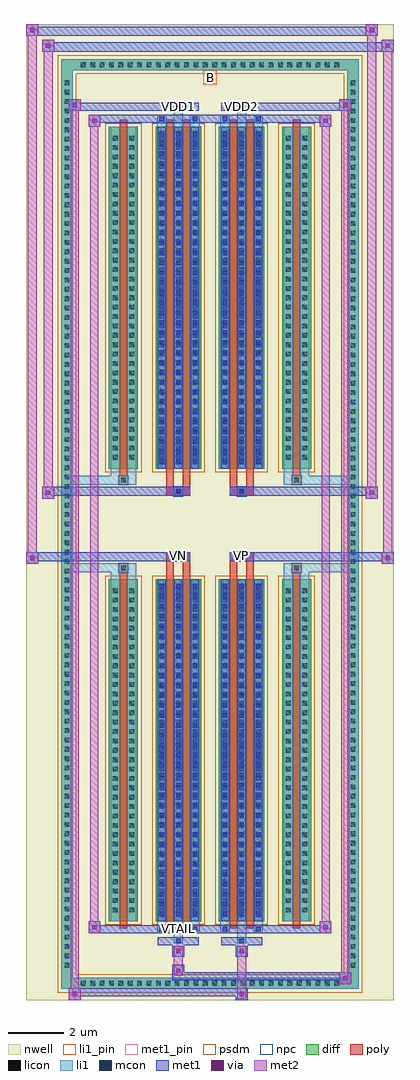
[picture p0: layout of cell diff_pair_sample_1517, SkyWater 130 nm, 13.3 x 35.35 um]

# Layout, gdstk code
import gdstk
lib = gdstk.Library(unit=1e-6, precision=5e-09)
def R(c, l, rs):  # rectangles x0, y0, x1, y1
    for r in rs: c.add(gdstk.rectangle(r[:2], r[2:], *l))
def A(c, l, x, y, w, h, nx, ny, dx, dy):  # array of equal rectangles
    R(c, l, [(x+i*dx, y+j*dy, x+i*dx+w, y+j*dy+h) for i in range(nx) for j in range(ny)])
def P(c, l, *ps):  # polygons
    for p in ps: c.add(gdstk.Polygon(p, *l))
nwell = (64, 20)
diff = (65, 20)
poly = (66, 20)
licon = (66, 44)
li1_pin = (67, 16)
li1 = (67, 20)
mcon = (67, 44)
met1_pin = (68, 16)
met1 = (68, 20)
via = (68, 44)
met2 = (69, 20)
psdm = (94, 20)
npc = (95, 20)

diff_pair_sample_1517 = lib.new_cell('diff_pair_sample_1517')
R(diff_pair_sample_1517, nwell, [(-6.65,-17.24,6.65,18.11), (-3.97,-15.43,-0.01,-0.815), (0.01,-15.43,3.97,-0.815), (-3.97,0.815,-0.01,15.43), (0.01,0.815,3.97,15.43)])
A(diff_pair_sample_1517, diff, -4.795, -16.84, 0.41, 0.41, 28, 2, 0.34, 33.27)
A(diff_pair_sample_1517, diff, -5.38, -16.185, 0.41, 0.41, 1, 95, 0, 0.34)
A(diff_pair_sample_1517, diff, 4.97, -16.185, 0.41, 0.41, 1, 95, 0, 0.34)
R(diff_pair_sample_1517, diff, [(-4.795,-16.84,4.795,-16.43), (-5.38,-16.185,-4.97,16.185), (4.97,-16.185,5.38,16.185), (-3.66,-14.385,-2.61,-2.005), (-1.97,-14.385,-0.32,-2.005), (0.32,-14.385,1.97,-2.005), (2.61,-14.385,3.66,-2.005), (-3.66,2.005,-2.61,14.385), (-1.97,2.005,-0.32,14.385), (0.32,2.005,1.97,14.385), (2.61,2.005,3.66,14.385), (-4.795,16.43,4.795,16.84)])
P(diff_pair_sample_1517, diff, [(5.38,16.84),(-5.38,16.84),(-5.38,-16.43),(-4.97,-16.43),(-4.97,16.43),(4.97,16.43),(4.97,-16.43),(-4.97,-16.43),(-5.38,-16.43),(-5.38,-16.84),(5.38,-16.84)])
R(diff_pair_sample_1517, poly, [(-3.27,-14.635,-3,-1.755), (-1.58,-14.635,-1.31,-1.755), (-0.98,-14.635,-0.71,-1.755), (0.71,-14.635,0.98,-1.755), (1.31,-14.635,1.58,-1.755), (3,-14.635,3.27,-1.755), (-3.3,-1.755,-2.97,-1.425), (-3.3,-1.755,-2.97,-1.425), (-1.58,-1.755,-1.31,-1.345), (-0.98,-1.755,-0.71,-1.345), (0.71,-1.755,0.98,-1.345), (1.31,-1.755,1.58,-1.345), (2.97,-1.755,3.3,-1.425), (2.97,-1.755,3.3,-1.425), (-1.58,-1.345,-0.71,-1.015), (-1.31,-1.345,-0.98,-1.015), (0.71,-1.345,1.58,-1.015), (0.98,-1.345,1.31,-1.015), (-1.58,1.015,-0.71,1.345), (-1.31,1.015,-0.98,1.345), (0.71,1.015,1.58,1.345), (0.98,1.015,1.31,1.345), (-1.58,1.345,-1.31,1.755), (-0.98,1.345,-0.71,1.755), (0.71,1.345,0.98,1.755), (1.31,1.345,1.58,1.755), (-3.3,1.425,-2.97,1.755), (-3.3,1.425,-2.97,1.755), (2.97,1.425,3.3,1.755), (2.97,1.425,3.3,1.755), (-3.27,1.755,-3,14.635), (-1.58,1.755,-1.31,14.635), (-0.98,1.755,-0.71,14.635), (0.71,1.755,0.98,14.635), (1.31,1.755,1.58,14.635), (3,1.755,3.27,14.635)])
A(diff_pair_sample_1517, licon, -4.675, -16.72, 0.17, 0.17, 28, 2, 0.34, 33.27)
A(diff_pair_sample_1517, licon, -5.26, -16.065, 0.17, 0.17, 1, 95, 0, 0.34)
A(diff_pair_sample_1517, licon, 5.09, -16.065, 0.17, 0.17, 1, 95, 0, 0.34)
A(diff_pair_sample_1517, licon, -3.52, -14.06, 0.17, 0.17, 1, 35, 0, 0.34)
A(diff_pair_sample_1517, licon, -2.92, -14.06, 0.17, 0.17, 1, 35, 0, 0.34)
A(diff_pair_sample_1517, licon, -1.83, -14.06, 0.17, 0.17, 3, 35, 0.6, 0.34)
A(diff_pair_sample_1517, licon, 0.46, -14.06, 0.17, 0.17, 3, 35, 0.6, 0.34)
A(diff_pair_sample_1517, licon, 2.75, -14.06, 0.17, 0.17, 1, 35, 0, 0.34)
A(diff_pair_sample_1517, licon, 3.35, -14.06, 0.17, 0.17, 1, 35, 0, 0.34)
A(diff_pair_sample_1517, licon, -3.52, 2.33, 0.17, 0.17, 1, 35, 0, 0.34)
A(diff_pair_sample_1517, licon, -2.92, 2.33, 0.17, 0.17, 1, 35, 0, 0.34)
A(diff_pair_sample_1517, licon, -1.83, 2.33, 0.17, 0.17, 3, 35, 0.6, 0.34)
A(diff_pair_sample_1517, licon, 0.46, 2.33, 0.17, 0.17, 3, 35, 0.6, 0.34)
A(diff_pair_sample_1517, licon, 2.75, 2.33, 0.17, 0.17, 1, 35, 0, 0.34)
A(diff_pair_sample_1517, licon, 3.35, 2.33, 0.17, 0.17, 1, 35, 0, 0.34)
R(diff_pair_sample_1517, licon, [(-3.22,-1.675,-3.05,-1.505), (3.05,-1.675,3.22,-1.505), (-1.23,-1.265,-1.06,-1.095), (1.06,-1.265,1.23,-1.095), (-1.23,1.095,-1.06,1.265), (1.06,1.095,1.23,1.265), (-3.22,1.505,-3.05,1.675), (3.05,1.505,3.22,1.675)])
R(diff_pair_sample_1517, li1_pin, [(-0.25,15.93,0.25,16.43)])
A(diff_pair_sample_1517, li1, -4.755, -16.8, 0.33, 0.33, 28, 2, 0.34, 33.27)
A(diff_pair_sample_1517, li1, -5.34, -16.145, 0.33, 0.33, 1, 95, 0, 0.34)
A(diff_pair_sample_1517, li1, 5.01, -16.145, 0.33, 0.33, 1, 95, 0, 0.34)
A(diff_pair_sample_1517, li1, -1.91, -14.385, 0.33, 12.38, 3, 2, 0.6, 16.39)
A(diff_pair_sample_1517, li1, 0.38, -14.385, 0.33, 12.38, 3, 2, 0.6, 16.39)
A(diff_pair_sample_1517, li1, -1.83, -14.22, 0.17, 0.17, 3, 34, 0.6, 0.36)
A(diff_pair_sample_1517, li1, -1.83, -14.22, 0.17, 12.05, 3, 2, 0.6, 16.39)
A(diff_pair_sample_1517, li1, 0.46, -14.22, 0.17, 0.17, 3, 34, 0.6, 0.36)
A(diff_pair_sample_1517, li1, 0.46, -14.22, 0.17, 12.05, 3, 2, 0.6, 16.39)
A(diff_pair_sample_1517, li1, -3.6, -14.14, 0.33, 0.33, 1, 35, 0, 0.34)
A(diff_pair_sample_1517, li1, -3, -14.14, 0.33, 0.33, 1, 35, 0, 0.34)
A(diff_pair_sample_1517, li1, -1.91, -14.14, 0.33, 0.33, 3, 35, 0.6, 0.34)
A(diff_pair_sample_1517, li1, 0.38, -14.14, 0.33, 0.33, 3, 35, 0.6, 0.34)
A(diff_pair_sample_1517, li1, 2.67, -14.14, 0.33, 0.33, 1, 35, 0, 0.34)
A(diff_pair_sample_1517, li1, 3.27, -14.14, 0.33, 0.33, 1, 35, 0, 0.34)
A(diff_pair_sample_1517, li1, -1.83, 2.17, 0.17, 0.17, 3, 34, 0.6, 0.36)
A(diff_pair_sample_1517, li1, 0.46, 2.17, 0.17, 0.17, 3, 34, 0.6, 0.36)
A(diff_pair_sample_1517, li1, -3.6, 2.25, 0.33, 0.33, 1, 35, 0, 0.34)
A(diff_pair_sample_1517, li1, -3, 2.25, 0.33, 0.33, 1, 35, 0, 0.34)
A(diff_pair_sample_1517, li1, -1.91, 2.25, 0.33, 0.33, 3, 35, 0.6, 0.34)
A(diff_pair_sample_1517, li1, 0.38, 2.25, 0.33, 0.33, 3, 35, 0.6, 0.34)
A(diff_pair_sample_1517, li1, 2.67, 2.25, 0.33, 0.33, 1, 35, 0, 0.34)
A(diff_pair_sample_1517, li1, 3.27, 2.25, 0.33, 0.33, 1, 35, 0, 0.34)
R(diff_pair_sample_1517, li1, [(-5.38,-16.84,-4.97,-16.43), (-5.38,-16.84,-4.97,-16.43), (-4.97,-16.84,4.97,-16.43), (4.97,-16.84,5.38,-16.43), (4.97,-16.84,5.38,-16.43), (-5.38,-16.43,-4.97,16.43), (4.97,-16.43,5.38,16.43), (-1.31,-15.19,-0.98,-14.385), (-1.23,-15.19,-1.06,-15.02), (0.98,-15.19,1.31,-14.385), (1.06,-15.19,1.23,-15.02), (-1.91,-14.76,-1.58,-14.385), (-1.83,-14.76,-1.66,-14.59), (-0.71,-14.76,-0.38,-14.385), (-0.63,-14.76,-0.46,-14.59), (0.38,-14.76,0.71,-14.385), (0.46,-14.76,0.63,-14.59), (1.58,-14.76,1.91,-14.385), (1.66,-14.76,1.83,-14.59), (-3.6,-14.385,-3.27,-2.005), (-3,-14.385,-2.67,-2.005), (2.67,-14.385,3,-2.005), (3.27,-14.385,3.6,-2.005), (-3.6,-2.005,-3.27,-1.425), (-3,-2.005,-2.67,-1.425), (2.67,-2.005,3,-1.425), (3.27,-2.005,3.6,-1.425), (-5.38,-1.755,-3.3,-1.425), (-3.6,-1.755,-3.3,-1.425), (-3.3,-1.755,-2.97,-1.425), (-2.97,-1.755,-2.67,-1.425), (2.67,-1.755,2.97,-1.425), (2.97,-1.755,3.3,-1.425), (2.97,-1.755,5.38,-1.425), (3.3,-1.755,3.6,-1.425), (-1.31,-1.345,-0.98,-1.015), (0.98,-1.345,1.31,-1.015), (-1.31,1.015,-0.98,1.345), (0.98,1.015,1.31,1.345), (-5.38,1.425,-3.3,1.755), (-3.6,1.425,-3.3,1.755), (-3.6,1.425,-3.27,2.005), (-3.3,1.425,-2.97,1.755), (-3,1.425,-2.67,2.005), (-2.97,1.425,-2.67,1.755), (2.67,1.425,2.97,1.755), (2.67,1.425,3,2.005), (2.97,1.425,3.3,1.755), (2.97,1.425,5.38,1.755), (3.27,1.425,3.6,2.005), (3.3,1.425,3.6,1.755), (-3.6,2.005,-3.27,14.385), (-3,2.005,-2.67,14.385), (2.67,2.005,3,14.385), (3.27,2.005,3.6,14.385), (-1.91,14.385,-1.58,14.76), (-1.31,14.385,-0.98,15.19), (-0.71,14.385,-0.38,14.76), (0.38,14.385,0.71,14.76), (0.98,14.385,1.31,15.19), (1.58,14.385,1.91,14.76), (-1.83,14.59,-1.66,14.76), (-0.63,14.59,-0.46,14.76), (0.46,14.59,0.63,14.76), (1.66,14.59,1.83,14.76), (-1.23,15.02,-1.06,15.19), (1.06,15.02,1.23,15.19), (-5.38,16.43,-4.97,16.84), (-5.38,16.43,-4.97,16.84), (-4.97,16.43,4.97,16.84), (4.97,16.43,5.38,16.84), (4.97,16.43,5.38,16.84)])
A(diff_pair_sample_1517, mcon, -1.83, -14.22, 0.17, 0.17, 3, 34, 0.6, 0.36)
A(diff_pair_sample_1517, mcon, 0.46, -14.22, 0.17, 0.17, 3, 34, 0.6, 0.36)
A(diff_pair_sample_1517, mcon, -1.83, 2.17, 0.17, 0.17, 3, 34, 0.6, 0.36)
A(diff_pair_sample_1517, mcon, 0.46, 2.17, 0.17, 0.17, 3, 34, 0.6, 0.36)
R(diff_pair_sample_1517, mcon, [(-1.23,-15.19,-1.06,-15.02), (1.06,-15.19,1.23,-15.02), (-1.83,-14.76,-1.66,-14.59), (-0.63,-14.76,-0.46,-14.59), (0.46,-14.76,0.63,-14.59), (1.66,-14.76,1.83,-14.59), (-1.23,-1.265,-1.06,-1.095), (1.06,-1.265,1.23,-1.095), (-1.23,1.095,-1.06,1.265), (1.06,1.095,1.23,1.265), (-1.83,14.59,-1.66,14.76), (-0.63,14.59,-0.46,14.76), (0.46,14.59,0.63,14.76), (1.66,14.59,1.83,14.76), (-1.23,15.02,-1.06,15.19), (1.06,15.02,1.23,15.19)])
R(diff_pair_sample_1517, met1_pin, [(-1.28,-14.8,-1.01,-14.53), (-1.28,-1.285,-1.01,-1.015), (1.01,-1.285,1.28,-1.015), (-1.28,14.98,-1.01,15.25), (1.01,14.98,1.28,15.25)])
A(diff_pair_sample_1517, met1, -1.89, -14.385, 0.29, 12.38, 3, 2, 0.6, 16.39)
A(diff_pair_sample_1517, met1, 0.4, -14.385, 0.29, 12.38, 3, 2, 0.6, 16.39)
A(diff_pair_sample_1517, met1, -1.89, -14.28, 0.29, 0.29, 3, 34, 0.6, 0.36)
A(diff_pair_sample_1517, met1, 0.4, -14.28, 0.29, 0.29, 3, 34, 0.6, 0.36)
A(diff_pair_sample_1517, met1, -1.89, 2.11, 0.29, 0.29, 3, 34, 0.6, 0.36)
A(diff_pair_sample_1517, met1, 0.4, 2.11, 0.29, 0.29, 3, 34, 0.6, 0.36)
R(diff_pair_sample_1517, met1, [(-5.11,-17.24,-4.68,-16.81), (0.93,-17.24,1.36,-16.81), (-5.11,-17.1,1.36,-16.81), (4.68,-16.67,5.11,-16.24), (-1.36,-16.53,5.11,-16.24), (-1.36,-16.39,-0.93,-15.96), (-1.36,-15.68,-0.93,-15.25), (0.93,-15.68,1.36,-15.25), (-1.89,-15.25,-0.4,-14.96), (-1.29,-15.25,-1,-14.96), (0.4,-15.25,1.89,-14.96), (1,-15.25,1.29,-14.96), (-4.4,-14.82,-3.97,-14.39), (-4.4,-14.82,-1.89,-14.53), (-1.89,-14.82,-1.6,-14.53), (-1.89,-14.82,-0.4,-14.53), (-0.69,-14.82,-0.4,-14.53), (-0.4,-14.82,0.4,-14.53), (0.4,-14.82,0.69,-14.53), (0.4,-14.82,1.89,-14.53), (1.6,-14.82,1.89,-14.53), (1.89,-14.82,4.4,-14.53), (3.97,-14.82,4.4,-14.39), (-6.65,-1.445,-6.22,-1.015), (6.22,-1.445,6.65,-1.015), (-6.65,-1.345,-0.71,-1.015), (-1.58,-1.345,-0.71,-1.015), (0.71,-1.345,1.58,-1.015), (0.71,-1.345,6.65,-1.015), (-1.29,-1.325,-1,-1.035), (1,-1.325,1.29,-1.035), (-6.08,0.915,-5.65,1.345), (5.65,0.915,6.08,1.345), (-6.08,1.015,-1.58,1.345), (-1.58,1.015,-0.71,1.345), (0.71,1.015,1.58,1.345), (1.58,1.015,6.08,1.345), (-1.29,1.035,-1,1.325), (1,1.035,1.29,1.325), (-4.4,14.39,-3.97,14.82), (3.97,14.39,4.4,14.82), (-4.4,14.53,-1.89,14.82), (-1.89,14.53,-1.6,14.82), (-1.89,14.53,-0.4,14.82), (-0.69,14.53,-0.4,14.82), (-0.4,14.53,0.4,14.82), (0.4,14.53,0.69,14.82), (0.4,14.53,1.89,14.82), (1.6,14.53,1.89,14.82), (1.89,14.53,4.4,14.82), (-5.11,14.96,-4.68,15.39), (-5.11,14.96,-1.89,15.25), (-1.89,14.96,-0.4,15.25), (-1.29,14.96,-1,15.25), (0.4,14.96,1.89,15.25), (1,14.96,1.29,15.25), (1.89,14.96,5.11,15.25), (4.68,14.96,5.11,15.39), (-6.08,17.11,-5.65,17.54), (-6.08,17.11,-3.97,17.44), (-3.97,17.11,3.97,17.44), (3.97,17.11,6.65,17.44), (6.22,17.11,6.65,17.54), (-6.65,17.68,-6.22,18.11), (-6.65,17.68,-3.97,18.01), (-3.97,17.68,3.97,18.01), (3.97,17.68,6.08,18.01), (5.65,17.68,6.08,18.11)])
R(diff_pair_sample_1517, via, [(-4.97,-17.1,-4.82,-16.95), (1.07,-17.1,1.22,-16.95), (4.82,-16.53,4.97,-16.38), (-1.22,-16.25,-1.07,-16.1), (-1.22,-15.54,-1.07,-15.39), (1.07,-15.54,1.22,-15.39), (-4.26,-14.68,-4.11,-14.53), (4.11,-14.68,4.26,-14.53), (-6.51,-1.305,-6.36,-1.155), (6.36,-1.305,6.51,-1.155), (-5.94,1.055,-5.79,1.205), (5.79,1.055,5.94,1.205), (-4.26,14.53,-4.11,14.68), (4.11,14.53,4.26,14.68), (-4.97,15.1,-4.82,15.25), (4.82,15.1,4.97,15.25), (-5.94,17.25,-5.79,17.4), (6.36,17.25,6.51,17.4), (-6.51,17.82,-6.36,17.97), (5.79,17.82,5.94,17.97)])
R(diff_pair_sample_1517, met2, [(-5.11,-17.24,-4.68,-16.81), (-5.04,-17.24,-4.75,15.39), (-4.75,-17.24,-4.68,-16.81), (-5.06,-17.19,-4.73,-16.86), (0.98,-17.19,1.31,-16.86), (0.98,-16.86,1.31,-15.63), (4.68,-16.67,5.11,-16.24), (4.75,-16.67,5.04,15.39), (5.04,-16.67,5.11,-16.24), (4.73,-16.62,5.06,-16.29), (-1.31,-16.34,-0.98,-16.01), (-1.31,-16.01,-0.98,-15.63), (-1.31,-15.63,-0.98,-15.3), (0.98,-15.63,1.31,-15.3), (-4.4,-14.82,-3.97,-14.39), (-4.33,-14.82,-4.04,14.82), (-4.04,-14.82,-3.97,-14.39), (3.97,-14.82,4.4,-14.39), (4.04,-14.82,4.33,14.82), (4.33,-14.82,4.4,-14.39), (-4.35,-14.77,-4.02,-14.44), (4.02,-14.77,4.35,-14.44), (-6.65,-1.445,-6.22,-1.015), (-6.6,-1.445,-6.27,18.11), (-6.27,-1.445,-6.22,-1.015), (6.22,-1.445,6.65,-1.015), (6.27,-1.445,6.6,17.54), (6.6,-1.445,6.65,-1.015), (-6.6,-1.395,-6.27,-1.065), (6.27,-1.395,6.6,-1.065), (-6.08,0.915,-5.65,1.345), (-6.03,0.915,-5.7,17.54), (-5.7,0.915,-5.65,1.345), (5.65,0.915,6.08,1.345), (5.7,0.915,6.03,18.11), (6.03,0.915,6.08,1.345), (-6.03,0.965,-5.7,1.295), (5.7,0.965,6.03,1.295), (-4.4,14.39,-3.97,14.82), (-4.04,14.39,-3.97,14.82), (3.97,14.39,4.4,14.82), (4.33,14.39,4.4,14.82), (-4.35,14.44,-4.02,14.77), (4.02,14.44,4.35,14.77), (-5.11,14.96,-4.68,15.39), (-4.75,14.96,-4.68,15.39), (4.68,14.96,5.11,15.39), (5.04,14.96,5.11,15.39), (-5.06,15.01,-4.73,15.34), (4.73,15.01,5.06,15.34), (-6.08,17.11,-5.65,17.54), (-5.7,17.11,-5.65,17.54), (6.22,17.11,6.65,17.54), (6.6,17.11,6.65,17.54), (-6.03,17.16,-5.7,17.49), (6.27,17.16,6.6,17.49), (-6.65,17.68,-6.22,18.11), (-6.27,17.68,-6.22,18.11), (5.65,17.68,6.08,18.11), (6.03,17.68,6.08,18.11), (-6.6,17.73,-6.27,18.06), (5.7,17.73,6.03,18.06)])
R(diff_pair_sample_1517, psdm, [(-3.79,-14.515,-2.48,-1.875), (-2.1,-14.515,-0.19,-1.875), (0.19,-14.515,2.1,-1.875), (2.48,-14.515,3.79,-1.875), (-3.79,1.875,-2.48,14.515), (-2.1,1.875,-0.19,14.515), (0.19,1.875,2.1,14.515), (2.48,1.875,3.79,14.515)])
P(diff_pair_sample_1517, psdm, [(5.51,16.97),(-5.51,16.97),(-5.51,-16.3),(-4.84,-16.3),(-4.84,16.3),(4.84,16.3),(4.84,-16.3),(-4.84,-16.3),(-5.51,-16.3),(-5.51,-16.97),(5.51,-16.97)])
R(diff_pair_sample_1517, npc, [(-3.32,-1.775,-2.95,-1.405), (2.95,-1.775,3.32,-1.405), (-1.33,-1.365,-0.96,-0.995), (0.96,-1.365,1.33,-0.995), (-1.33,0.995,-0.96,1.365), (0.96,0.995,1.33,1.365), (-3.32,1.405,-2.95,1.775), (2.95,1.405,3.32,1.775)])
diff_pair_sample_1517.add(gdstk.Label('VTAIL', (-1.145,-14.665), layer=68, texttype=5))
diff_pair_sample_1517.add(gdstk.Label('VN', (-1.145,-1.15), layer=68, texttype=5))
diff_pair_sample_1517.add(gdstk.Label('VP', (1.145,-1.15), layer=68, texttype=5))
diff_pair_sample_1517.add(gdstk.Label('B', (0,16.18), layer=67, texttype=5))
diff_pair_sample_1517.add(gdstk.Label('VDD2', (1.145,15.115), layer=68, texttype=5))
diff_pair_sample_1517.add(gdstk.Label('VDD1', (-1.145,15.115), layer=68, texttype=5))

lib.write_gds('diff_pair_sample_1517.gds')
